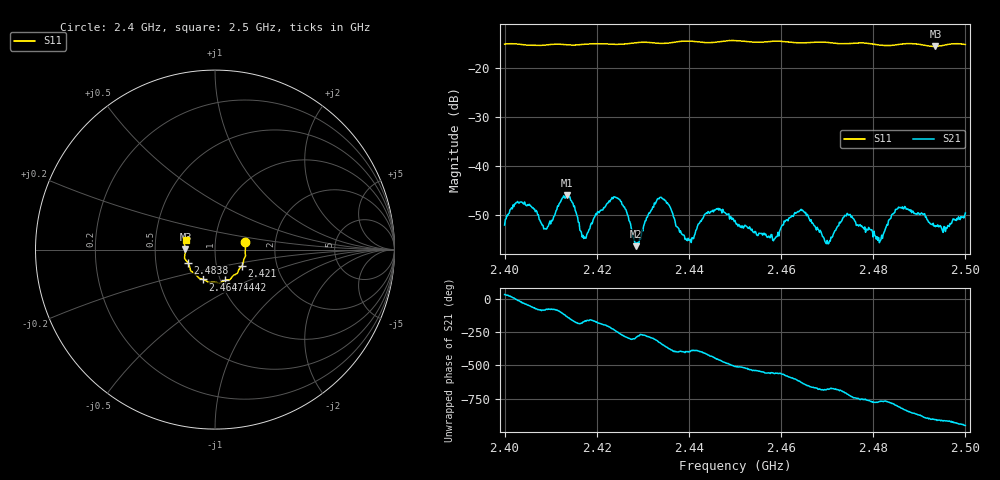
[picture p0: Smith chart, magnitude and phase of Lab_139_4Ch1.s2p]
# Hz S RI R 50
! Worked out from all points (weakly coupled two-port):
!   601 points, 2.4 GHz to 2.5 GHz, reference 50 ohm
!   highest |S21| = -46.02 dB at 2.4135 GHz (marker M1); lowest = -56.4 dB at 2.4285 GHz (marker M2)
!   lowest |S11| = -15.7 dB at 2.4935 GHz (marker M3), VSWR 1.39, Z = 35.8 + j0.187 ohm
!   |S11| at or under -10 dB: start of sweep to end of sweep
!   S12 and S22 are empty: the file has one direction only
!   S11 on the Smith chart (normalised r, x): 2.4 GHz: 1.40, +0.12; 2.421 GHz: 1.33, -0.24; 2.4442 GHz: 1.05, -0.37; 2.4647 GHz: 0.83, -0.28; 2.4838 GHz: 0.73, -0.11; 2.5 GHz: 0.71, +0.08
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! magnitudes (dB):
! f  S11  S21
! 2.4 GHz  -15.2  -52.1
! 2.4038 GHz  -15.3  -47.5
! 2.409 GHz  -15.4  -52.9
! 2.4135 GHz  -15.3  -46.0
! 2.4167 GHz  -15.3  -53.6
! 2.421 GHz  -15.1  -49.0
! 2.4248 GHz  -15.3  -46.8
! 2.4285 GHz  -14.9  -56.4
! 2.4333 GHz  -15.0  -46.7
! 2.44 GHz  -14.6  -55.1
! 2.4442 GHz  -14.9  -49.3
! 2.45 GHz  -14.5  -51.1
! 2.4587 GHz  -14.6  -54.8
! 2.4647 GHz  -14.9  -49.0
! 2.4667 GHz  -14.8  -51.7
! 2.47 GHz  -14.9  -55.2
! 2.4743 GHz  -15.1  -49.7
! 2.4812 GHz  -15.4  -54.6
! 2.4833 GHz  -15.5  -51.1
! 2.4838 GHz  -15.5  -50.7
! 2.4935 GHz  -15.7  -52.4
! 2.5 GHz  -15.3  -49.6
